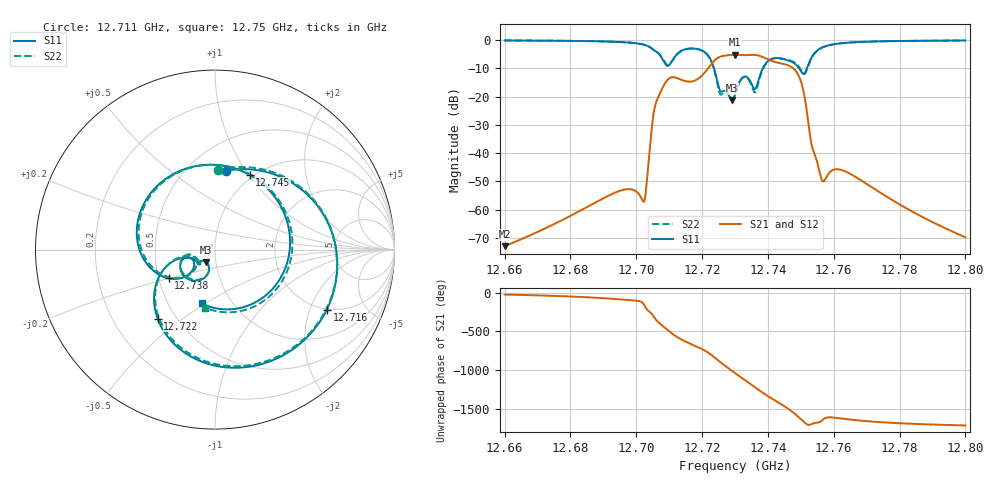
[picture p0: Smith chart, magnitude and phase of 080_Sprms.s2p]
! TOUCHSTONE file generated by CST MICROWAVE STUDIO
! Date and time: Wed Jul 31 14:45:38 2024
! Project name: WaveGuide_BPF-Ver4.1_U-shape_Ku_T3_C4_CWA_2.cst
! Parameters = {cavity_h=16; cavity_l0=10; cavity_l1=15.1871; cavity_l2=16.835; cavity_l3=17.1136; cavity_l4=17.2566; cavity_l5=17.1147; cavity_l6=17.6206; cavity_r=2.5; cavity_screw_l=0.5; cavity_screw_r=1.5; cavity_w=8; iris_h00=0; iris_h01=8.8401; iris_h112=0; iris_h12=5.5882; iris_h211=3.6645; i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
! Header version: 2018
! Port assignment regex: !\s*Touchstone port\s*([0-9]+)\s*=\s*(CST MWS port|CST DS port)\s*([0-9]+|Zmin|Zmax)\s*\(\"(.*)\"\)(\s*mode\s*([0-9]+))?.*
! Touchstone port assignment:
! Touchstone port 1 = CST MWS port 1 ("")
! Touchstone port 2 = CST MWS port 2 ("")
# GHz S RI R 50
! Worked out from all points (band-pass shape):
!   5001 points, 12.66 GHz to 12.8 GHz, reference 50 ohm
!   highest |S21| = -5.22 dB at 12.73 GHz (marker M1); lowest = -72.9 dB at 12.66 GHz (marker M2)
!   |S21| within 3 dB of the highest: 12.723 GHz to 12.74379 GHz (20.8 MHz wide, 0.163 % of centre)
!   lowest |S11| = -21.3 dB at 12.729 GHz (marker M3), VSWR 1.19, Z = 44.8 - j6.25 ohm
!   |S11| at or under -10 dB: 12.72361 GHz to 12.73846 GHz (14.84 MHz wide, 0.117 % of centre); 12.74946 GHz to 12.75184 GHz (2.381 MHz wide, 0.0187 % of centre)
!   |S22| runs from -21.3 to -0.2 dB; largest |S21 - S12| = 1e-09
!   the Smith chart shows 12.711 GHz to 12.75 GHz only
!   S11 on the Smith chart (normalised r, x): 12.711 GHz: 0.75, +0.82; 12.716 GHz: 1.97, -2.63; 12.722 GHz: 0.40, -0.41; 12.738 GHz: 0.56, -0.20; 12.745 GHz: 0.96, +1.01; 12.75 GHz: 0.73, -0.48
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12.66  0.335 0.9222  0.000207 -9.14e-05  0.000207 -9.14e-05  0.3371 0.9215
12.68335  0.7385 0.613  0.000558 -0.00081  0.000558 -0.00081  0.7392 0.6123
12.70222  0.6841 -0.4684  -0.00114 -0.000785  -0.00114 -0.000785  0.6823 -0.471
12.70668  -0.0348 -0.5835  0.0915 -0.0346  0.0915 -0.0346  -0.0371 -0.5898
12.70889  -0.3688 -0.0543  -0.0319 -0.1743  -0.0319 -0.1743  -0.3817 -0.0748
12.71107  0.0621 0.4395  -0.2195 -0.0168  -0.2195 -0.0168  0.0173 0.4418
12.71622  0.623 -0.334  0.0818 0.1641  0.0818 0.1641  0.6347 -0.2995
12.72216  -0.3194 -0.385  0.1393 -0.3055  0.1393 -0.3055  -0.3127 -0.3796
12.72577  -0.1026 -0.066  -0.508 0.0576  -0.508 0.0576  -0.0871 -0.0638
12.72913  -0.0507 -0.0693  0.2265 0.4976  0.2265 0.4976  -0.0489 -0.0707
12.72992  -0.0334 -0.099  0.412 0.3618  0.412 0.3618  -0.033 -0.0989
12.73  -0.0329 -0.1032  0.4278 0.3429  0.4278 0.3429  -0.0327 -0.1029
12.73428  -0.1891 -0.0697  0.0122 -0.5424  0.0122 -0.5424  -0.1859 -0.0539
12.73832  -0.258 -0.1596  -0.4223 0.2706  -0.4223 0.2706  -0.2485 -0.1557
12.74126  -0.4125 0.2193  0.1683 0.389  0.1683 0.389  -0.3971 0.2343
12.74484  0.1928 0.4161  0.3357 -0.1689  0.3357 -0.1689  0.2215 0.4044
12.74957  -0.0749 -0.2998  -0.2187 7.34e-05  -0.2187 7.34e-05  -0.0542 -0.3238
12.75335  0.4422 0.2386  -0.00257 0.0131  -0.00257 0.0131  0.4286 0.2373
12.7566  0.5222 -0.5257  -0.00281 0.00151  -0.00281 0.00151  0.5179 -0.5295
12.76027  0.0463 -0.8434  -0.00514 -0.000107  -0.00514 -0.000107  0.0412 -0.8444
12.77668  -0.8861 -0.3516  -0.000725 0.00144  -0.000725 0.00144  -0.8873 -0.3486
12.8  -0.9551 0.2174  5.35e-05 0.00032  5.35e-05 0.00032  -0.9541 0.2216
